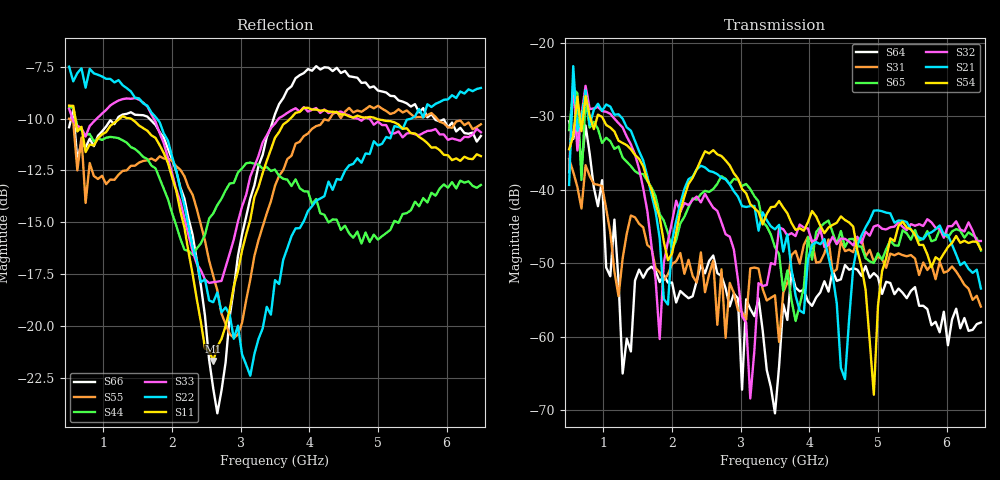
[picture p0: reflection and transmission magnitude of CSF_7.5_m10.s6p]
!Keysight Technologies,M9804A,MY58100912,A.14.10.03
!Date: Thursday, April 27, 2023 10:28:33
!Correction: S11(C  6-Port  )
!S12(C  6-Port  )
!S13(C  6-Port  )
!S14(C  6-Port  )
!S15(C  6-Port  )
!S16(C  6-Port  )
!S21(C  6-Port  )
!S22(C  6-Port  )
!S23(C  6-Port  )
!S24(C  6-Port  )
!S25(C  6-Port  )
!S26(C  6-Port  )
!S31(C  6-Port  )
!S32(C  6-Port  )
!S33(C  6-Port  )
!S34(C  6-Port  )
!S35(C  6-Port  )
!S36(C  6-Port  )
!S41(C  6-Port  )
!S42(C  6-Port  )
!S43(C  6-Port  )
!S44(C  6-Port  )
!S45(C  6-Port  )
!S46(C  6-Port  )
!S51(C  6-Port  )
!S52(C  6-Port  )
!S53(C  6-Port  )
!S54(C  6-Port  )
!S55(C  6-Port  )
!S56(C  6-Port  )
!S61(C  6-Port  )
!S62(C  6-Port  )
!S63(C  6-Port  )
!S64(C  6-Port  )
!S65(C  6-Port  )
!S66(C  6-Port  )
!S6P File: Measurement: :
# Hz S  RI  R 50
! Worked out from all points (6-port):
!   101 points, 500 MHz to 6.5 GHz, reference 50 ohm
!   strongest paths, dB at 500 MHz, 2 GHz, 3.5 GHz, 5 GHz, 6.5 GHz:
!     S54: -34.5, -48.7, -42.3, -55.8, -48.1
!     S21: -39.3, -47.0, -45.4, -42.8, -53.4
!     S32: -37.6, -44.3, -50.2, -44.8, -47.0
!     S65: -31.9, -48.1, -47.8, -48.6, -48.3
!     S31: -35.8, -50.1, -54.4, -49.1, -55.9
!     S64: -30.7, -52.6, -70.4, -51.9, -58.1
!   lowest |S11| = -21.7 dB at 2.6 GHz (marker M1), VSWR 1.18, Z = 42.6 + j2.06 ohm
!   |S11| at or under -10 dB: 589.9 MHz to 1.239 GHz (648.6 MHz wide, 70.9 % of centre); 1.401 GHz to 3.723 GHz (2.322 GHz wide, 90.6 % of centre); 4.974 GHz to end of sweep
